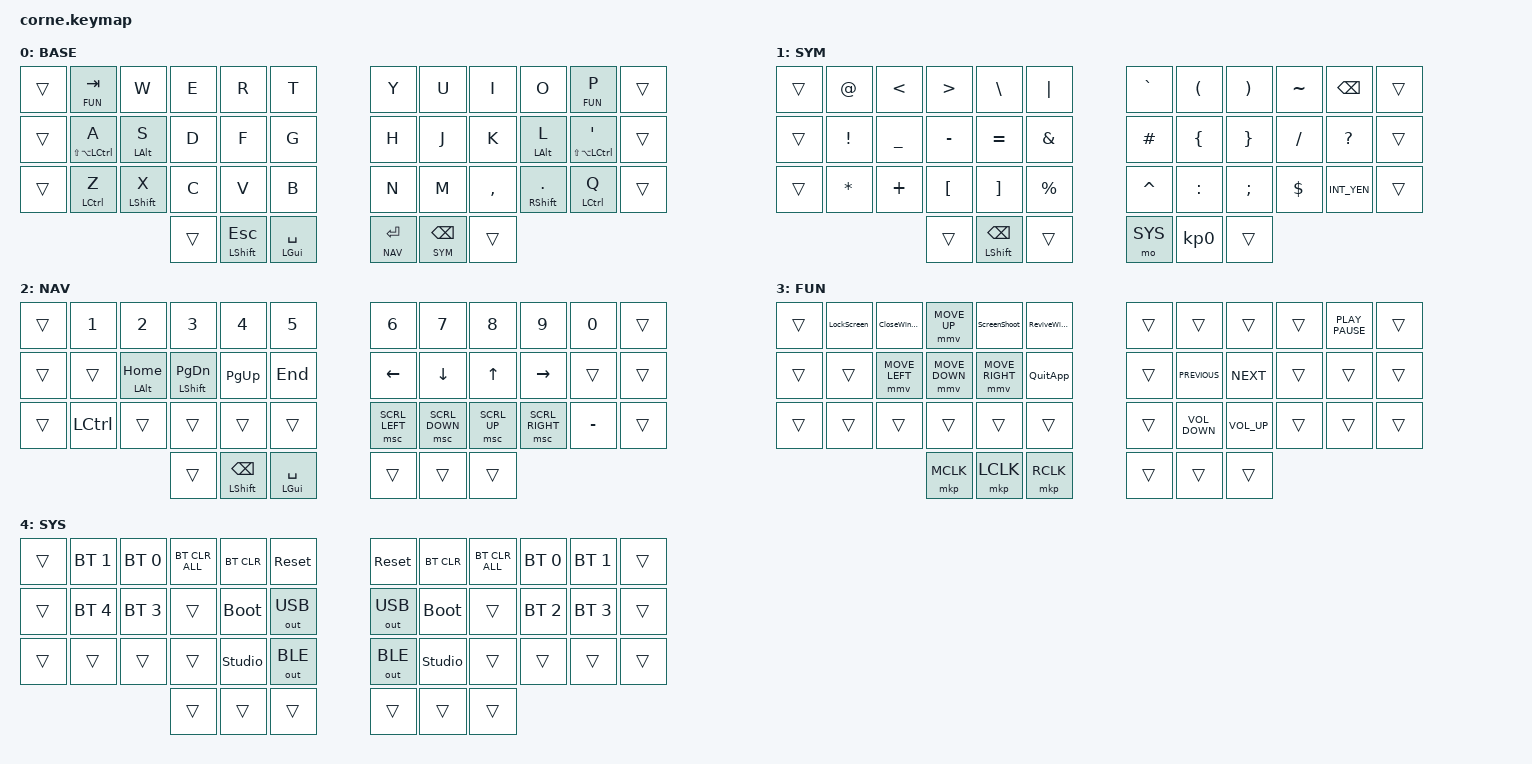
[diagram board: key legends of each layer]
/*
 * Copyright (c) 2020 The ZMK Contributors
 *
 * SPDX-License-Identifier: MIT
 */

#include <behaviors.dtsi>
#include <dt-bindings/zmk/bt.h>
#include <dt-bindings/zmk/keys.h>
#include <dt-bindings/zmk/outputs.h>
#include <dt-bindings/zmk/pointing.h>

#define BASE 0
#define SYM  1
#define NAV  2
#define FUN  3
#define SYS  4

&mt {
    quick-tap-ms = <100>;
    global-quick-tap;
    flavor = "tap-preferred";
    tapping-term-ms = <180>;
};

/ {
    combos {
        compatible = "zmk,combos";

        // Totem pos 6 7 8  →  Corne pos 7 8 9  (row 0, cols 1-3 of right side)

        Meh1 {
            bindings = <&kp LS(LA(LC(NUMBER_1)))>;
            key-positions = <7 8 9>;
        };

        // Totem pos 16 17 18  →  Corne pos 19 20 21

        Meh2 {
            bindings = <&kp LS(LA(LC(NUMBER_2)))>;
            key-positions = <19 20 21>;
        };

        // Totem pos 28 29  →  Corne pos 32 33

        Enter {
            bindings = <&kp ENTER>;
            key-positions = <32 33>;
            timeout-ms = <30>;
        };

        // Totem pos 32 37  →  Corne pos 36 41

        SysLayerLeft {
            bindings = <&mo SYS>;
            key-positions = <36 37>;
        };

        SysLayerRight {
            bindings = <&mo SYS>;
            key-positions = <40 41>;
        };

        // Totem pos 23 24  →  Corne pos 27 28

        Tab {
            bindings = <&kp TAB>;
            key-positions = <27 28>;
            timeout-ms = <30>;
        };

        // Totem pos 36 7 6  →  Corne pos 40 8 7

        Hyper1 {
            bindings = <&kp LS(LA(LC(LG(NUMBER_1))))>;
            key-positions = <40 8 7>;
        };

        // Totem pos 36 16 17  →  Corne pos 40 19 20

        Hyper2 {
            bindings = <&kp LS(LA(LC(LG(NUMBER_2))))>;
            key-positions = <40 19 20>;
        };

        // Totem pos 36 28 27  →  Corne pos 40 32 31

        Hyper3 {
            bindings = <&kp LS(LA(LC(LG(NUMBER_3))))>;
            key-positions = <40 32 31>;
        };
    };

    macros {
        LockScreen: LockScreen {
            compatible = "zmk,behavior-macro";
            #binding-cells = <0>;
            bindings = <&kp LG(LC(Q))>;
            label = "LOCKSCREEN";
        };

        CloseWindow: CloseWindow {
            compatible = "zmk,behavior-macro";
            #binding-cells = <0>;
            bindings = <&kp LG(LS(W))>;
            label = "CLOSEWINDOW";
        };

        ScreenShoot: ScreenShoot {
            compatible = "zmk,behavior-macro";
            #binding-cells = <0>;
            bindings = <&kp LG(LS(NUMBER_4))>;
            label = "SCREENSHOOT";
        };

        ReviveWindow: ReviveWindow {
            compatible = "zmk,behavior-macro";
            #binding-cells = <0>;
            bindings = <&kp LG(LS(T))>;
            label = "REVIVEWINDOW";
        };

        Meh: Meh {
            compatible = "zmk,behavior-macro";
            #binding-cells = <0>;
            bindings = <&kp LS(LA(LEFT_CONTROL))>;
            label = "MEH";
        };

        QuitApp: QuitApp {
            compatible = "zmk,behavior-macro";
            #binding-cells = <0>;
            bindings = <&kp LG(Q)>;
            label = "QUITAPP";
        };
    };

    behaviors {
        mt_hold: mt_hold {
            compatible = "zmk,behavior-hold-tap";
            label = "MT_HOLD";
            bindings = <&kp>, <&kp>;

            #binding-cells = <2>;
            tapping-term-ms = <200>;
        };

        lt_repeat: lt_repeat {
            compatible = "zmk,behavior-hold-tap";
            label = "LT_REPEAT";
            bindings = <&mo>, <&kp>;

            #binding-cells = <2>;
            tapping-term-ms = <200>;
            quick-tap-ms = <200>;
        };
    };

    keymap {
        compatible = "zmk,keymap";

        // ┏━━━━━━━━━━━━━━━━━━━━━━━━━━━━━━━━━━━━━━━━━━━━━━━━━━━━━━━━━━━━━━━━━━━━━━━━━━━━━━━━┓
        // Corne 42-key layout — outer cols (leftmost & rightmost) are always &trans (unused)
        // | --- | lt3 TAB | W | E | R | T |   | Y | U | I | O | lt3 P | --- |
        // | --- | mt Meh A | mt Alt S | D | F | G |   | H | J | K | mt Alt L | mt Meh ' | --- |
        // | --- | mt Ctrl Z | mt Sft X | C | V | B |   | N | M | , | . | mt Ctrl Q | --- |
        //               | --- | mt_hold SFT ESC | mt GUI SPC |   | lt NAV ENT | lt SYM BSPC | --- |
        // ┗━━━━━━━━━━━━━━━━━━━━━━━━━━━━━━━━━━━━━━━━━━━━━━━━━━━━━━━━━━━━━━━━━━━━━━━━━━━━━━━━┛

        base_layer {
            display-name = "BASE";
            bindings = <
&trans  &lt FUN TAB                 &kp W             &kp E    &kp R                       &kp T                 &kp Y          &kp U                    &kp I        &kp O                &lt FUN P                              &trans
&trans  &mt LS(LA(LEFT_CONTROL)) A  &mt LEFT_ALT S    &kp D    &kp F                       &kp G                 &kp H          &kp J                    &kp K        &mt LEFT_ALT L       &mt LS(LA(LEFT_CONTROL)) SINGLE_QUOTE  &trans
&trans  &mt LEFT_CONTROL Z          &mt LEFT_SHIFT X  &kp C    &kp V                       &kp B                 &kp N          &kp M                    &kp COMMA    &mt RIGHT_SHIFT DOT  &mt LEFT_CONTROL Q                     &trans
                                                      &trans   &mt_hold LEFT_SHIFT ESCAPE  &mt LEFT_GUI SPACE    &lt NAV ENTER  &lt_repeat SYM BACKSPACE  &trans
            >;
        };

        // | --- | @ | < | > | \ | | |   | ` | ( | ) | ~ | BSPC | --- |
        // | --- | ! | _ | - | = | & |   | # | { | } | / | ? | --- |
        // | --- | * | + | [ | ] | % |   | ^ | : | ; | $ | ¥ | --- |
        //               | --- | mt SFT BSPC | --- |   | mo SYS | KP0 | --- |

        sym_layer {
            display-name = "SYM";
            bindings = <
&trans  &kp AT           &kp LESS_THAN  &kp GREATER_THAN  &kp BACKSLASH             &kp PIPE       &kp GRAVE  &kp LEFT_PARENTHESIS  &kp RIGHT_PARENTHESIS  &kp TILDE   &kp BACKSPACE  &trans
&trans  &kp EXCLAMATION  &kp UNDER      &kp MINUS         &kp EQUAL                 &kp AMPS       &kp HASH   &kp LEFT_BRACE        &kp RIGHT_BRACE        &kp SLASH   &kp QUESTION   &trans
&trans  &kp STAR         &kp PLUS       &kp LEFT_BRACKET  &kp RIGHT_BRACKET         &kp PERCENT    &kp CARET  &kp COLON             &kp SEMI               &kp DOLLAR  &kp INT_YEN    &trans
                                        &trans            &mt LEFT_SHIFT BACKSPACE  &trans         &mo SYS    &kp KP_N0             &trans
            >;
        };

        // | --- | 1 | 2 | 3 | 4 | 5 |   | 6 | 7 | 8 | 9 | 0 | --- |
        // | --- | - | mt Alt HOME | mt Sft PgDn | PgUp | END |   | ← | ↓ | ↑ | → | BSPC | --- |
        // | --- | Ctrl | --- | --- | --- | --- |   | ScrL | ScrD | ScrU | ScrR | - | --- |
        //               | --- | mt SFT BSPC | mt GUI SPC |   | --- | --- | --- |

        nav_layer {
            display-name = "NAV";
            bindings = <
&trans  &kp NUMBER_1      &kp NUMBER_2       &kp NUMBER_3              &kp NUMBER_4              &kp NUMBER_5          &kp NUMBER_6    &kp NUMBER_7    &kp NUMBER_8  &kp NUMBER_9     &kp NUMBER_0  &trans
&trans  &trans            &mt LEFT_ALT HOME  &mt LEFT_SHIFT PAGE_DOWN  &kp PAGE_UP               &kp END               &kp LEFT_ARROW  &kp DOWN_ARROW  &kp UP_ARROW  &kp RIGHT_ARROW  &trans        &trans
&trans  &kp LEFT_CONTROL  &trans             &trans                    &trans                    &trans                &msc SCRL_LEFT  &msc SCRL_DOWN  &msc SCRL_UP  &msc SCRL_RIGHT  &kp MINUS     &trans
                                             &trans                    &mt LEFT_SHIFT BACKSPACE  &mt LEFT_GUI SPACE    &trans          &trans          &trans
            >;
        };

        // | --- | LockScr | CloseWin | mouse↑ | Screenshot | ReviveWin |   | --- | --- | --- | --- | Play/Pause | --- |
        // | --- | --- | mouse← | mouse↓ | mouse→ | QuitApp |   | --- | Prev | Next | --- | --- | --- |
        // | --- | --- | --- | --- | --- | --- |   | --- | Vol- | Vol+ | --- | --- | --- |
        //               | MClick | LClick | RClick |   | --- | --- | --- |

        fun_layer {
            display-name = "FUN";
            bindings = <
&trans  &LockScreen  &CloseWindow    &mmv MOVE_UP    &ScreenShoot     &ReviveWindow    &trans  &trans             &trans           &trans  &kp K_PLAY_PAUSE  &trans
&trans  &trans       &mmv MOVE_LEFT  &mmv MOVE_DOWN  &mmv MOVE_RIGHT  &QuitApp         &trans  &kp K_PREVIOUS     &kp K_NEXT       &trans  &trans            &trans
&trans  &trans       &trans          &trans          &trans           &trans           &trans  &kp K_VOLUME_DOWN  &kp K_VOLUME_UP  &trans  &trans            &trans
                                     &mkp MCLK       &mkp LCLK        &mkp RCLK        &trans  &trans             &trans
            >;
        };

        // | --- | --- | --- | BT clr all | BT clr | reset |   | reset | BT clr | BT clr all | BT0 | BT1 | --- |
        // | --- | --- | --- | --- | bootload | OUT USB |   | OUT USB | bootload | --- | BT2 | BT3 | --- |
        // | --- | --- | --- | --- | --- | OUT BLE |   | OUT BLE | --- | --- | --- | --- | --- |
        //               | --- | --- | --- |   | --- | --- | --- |

        sys_layer {
            display-name = "SYS";
            bindings = <
&trans  &bt BT_SEL 1  &bt BT_SEL 0  &bt BT_CLR_ALL  &bt BT_CLR    &sys_reset      &sys_reset    &bt BT_CLR    &bt BT_CLR_ALL  &bt BT_SEL 0  &bt BT_SEL 1  &trans
&trans  &bt BT_SEL 4  &bt BT_SEL 3  &trans          &bootloader   &out OUT_USB    &out OUT_USB  &bootloader   &trans          &bt BT_SEL 2  &bt BT_SEL 3  &trans
&trans  &trans        &trans        &trans          &studio_unlock   &out OUT_BLE    &out OUT_BLE  &studio_unlock   &trans          &trans        &trans        &trans
                                    &trans          &trans        &trans          &trans        &trans        &trans
            >;
        };
    };
};
